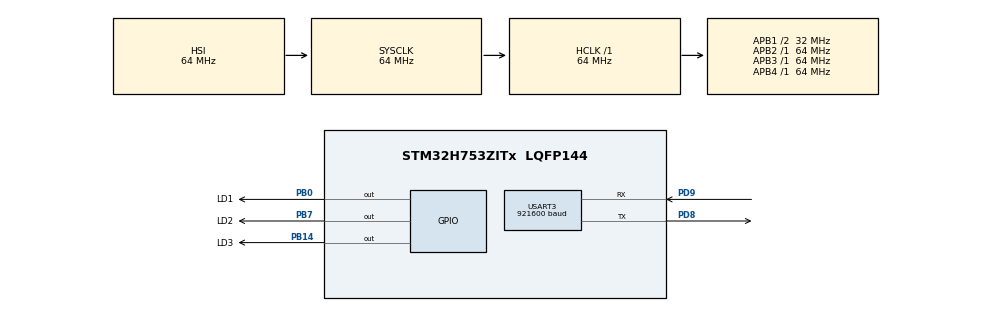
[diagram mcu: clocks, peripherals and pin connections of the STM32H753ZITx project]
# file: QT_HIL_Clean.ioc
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CORTEX_M7.default_mode_Activation=1
Mcu.Family=STM32H7
Mcu.Name=STM32H753ZITx
Mcu.Package=LQFP144
NVIC.PriorityGroup=NVIC_PRIORITYGROUP_4
PA13\ (JTMS/SWDIO).Mode=Serial_Wire
PA13\ (JTMS/SWDIO).Signal=DEBUG_JTMS-SWDIO
PA14\ (JTCK/SWCLK).Mode=Serial_Wire
PA14\ (JTCK/SWCLK).Signal=DEBUG_JTCK-SWCLK
PB0.GPIO_Label=LD1
PB0.Signal=GPIO_Output
PB14.GPIO_Label=LD3
PB14.Signal=GPIO_Output
PB7.GPIO_Label=LD2
PB7.Signal=GPIO_Output
PD8.Mode=Asynchronous
PD8.Signal=USART3_TX
PD9.Mode=Asynchronous
PD9.Signal=USART3_RX
PH0-OSC_IN\ (PH0).Mode=HSE-External-Clock-Source
PH0-OSC_IN\ (PH0).Signal=RCC_OSC_IN
ProjectManager.HeapSize=0x200
ProjectManager.StackSize=0x400
ProjectManager.TargetToolchain=STM32CubeIDE
RCC.ADCFreq_Value=129000000
RCC.APB1Freq_Value=32000000
RCC.APB2Freq_Value=64000000
RCC.APB3Freq_Value=64000000
RCC.APB4Freq_Value=64000000
RCC.CortexFreq_Value=64000000
RCC.D2PPRE1=RCC_APB1_DIV2
RCC.HCLKFreq_Value=64000000
RCC.HSE_VALUE=8000000
RCC.SYSCLKFreq_VALUE=64000000
RCC.USBFreq_Value=129000000
USART3.BaudRate=921600
USART3.VirtualMode-Asynchronous=VM_ASYNC
VP_MEMORYMAP_VS_MEMORYMAP.Mode=CurAppReg
board=custom

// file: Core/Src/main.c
/*
 * Copyright 2026 Adilkhan Salkimbayev
 *
 * Licensed under the Apache License, Version 2.0 (the "License");
 * you may not use this file except in compliance with the License.
 * You may obtain a copy of the License at
 *
 *     http://www.apache.org/licenses/LICENSE-2.0
 *
 * Unless required by applicable law or agreed to in writing, software
 * distributed under the License is distributed on an "AS IS" BASIS,
 * WITHOUT WARRANTIES OR CONDITIONS OF ANY KIND, either express or implied.
 * See the License for the specific language governing permissions and
 * limitations under the License.
 */

/* USER CODE BEGIN Header */
/**
  ******************************************************************************
  * @file           : main.c
  * @brief          : Main program body
  ******************************************************************************
  * @attention
  *
  * Copyright (c) 2026 STMicroelectronics.
  * All rights reserved.
  *
  * This software is licensed under terms that can be found in the LICENSE file
  * in the root directory of this software component.
  * If no LICENSE file comes with this software, it is provided AS-IS.
  *
  ******************************************************************************
  */
/* USER CODE END Header */
#include "main.h"
#include "ekf.h"
#include "config.h"
#include "model_calc.h"
#include "kan_solver.h"
#include "mpc_runner.h"

/* USER CODE BEGIN Includes */
#include "arm_math.h"
#include <math.h>
#include <stdio.h>
#include <string.h>
/* USER CODE END Includes */

UART_HandleTypeDef huart3;

/* USER CODE BEGIN PV */
EKF_Handle_t ekf;
// Buffers
uint8_t rx_buffer[17]; // Header (1) + 4 floats (16)
float h_inputs[4];     // From Python
float u_outputs[3];    // To Python (Voltage + Execution Time)

// Double buffers for calculation (The H7 likes doubles)
double x_est[4];
double u_applied[2];
double target[4] = {10.0, 10.0, 2.0, 2.0}; // Default Target
double A_flat[16];
double B_flat[8];
double d_flat[4];
uint32_t start_cycles, end_cycles;
double cpu_freq = 480000000.0; // Change to 400Mhz if clock config is 400
double active_gamma[2];
double active_k_pump[2];
/* USER CODE END PV */

void SystemClock_Config(void);
static void MPU_Config(void);
static void MX_GPIO_Init(void);
static void MX_USART3_UART_Init(void);
/* USER CODE BEGIN PFP */
void System_Setup_Config(void) {
    #ifdef USE_NON_MINIMUM_PHASE
        // Load P+ Values
        active_gamma[0] = GAMMA_PLUS[0];
        active_gamma[1] = GAMMA_PLUS[1];
        active_k_pump[0] = K_PUMP_PLUS[0];
        active_k_pump[1] = K_PUMP_PLUS[1];
    #else
        // Load P- Values
        active_gamma[0] = GAMMA_MINUS[0];
        active_gamma[1] = GAMMA_MINUS[1];
        active_k_pump[0] = K_PUMP_MINUS[0];
        active_k_pump[1] = K_PUMP_MINUS[1];
    #endif
}

void DWT_Init(void) {
    CoreDebug->DEMCR |= CoreDebug_DEMCR_TRCENA_Msk; // Enable Trace
    DWT->CYCCNT = 0;                                // Reset counter
    DWT->CTRL |= DWT_CTRL_CYCCNTENA_Msk;           // Enable cycle counter
}
/* USER CODE END PFP */

int main(void)
{

  /* MPU Configuration--------------------------------------------------------*/
  MPU_Config();

  /* MCU Configuration--------------------------------------------------------*/

  /* Reset of all peripherals, Initializes the Flash interface and the Systick. */
  HAL_Init();
  DWT_Init();

  /* USER CODE BEGIN Init */
  SCB_EnableDCache();
  SCB_EnableICache();
  /* USER CODE END Init */

  /* Configure the system clock */
  SystemClock_Config();

  /* Initialize all configured peripherals */
  MX_GPIO_Init();
  MX_USART3_UART_Init();
  /* USER CODE BEGIN 2 */

  // System configuration

  System_Setup_Config();

  // 1. Initialize EKF
  double initial_guess[4] = {0.0, 0.0, 0.0, 0.0};
  EKF_Init(&ekf, initial_guess);
  /* USER CODE END 2 */

  /* Infinite loop */
  /* USER CODE BEGIN WHILE */
    while (1)
    {
        // Wait for packet from Python
        if (HAL_UART_Receive(&huart3, rx_buffer, 1, 1000) == HAL_OK)
        {
            if (rx_buffer[0] == 0xA5) // Sync Byte
            {
                // Read 4 floats (measurements)
                HAL_UART_Receive(&huart3, &rx_buffer[1], 16, 100);
                memcpy(h_inputs, &rx_buffer[1], 16);

                // Cast float -> double for EKF
                double z_meas[4] = {h_inputs[0], h_inputs[1], h_inputs[2], h_inputs[3]};

                // --- EXECUTE CONTROL STACK ---

                // 1. Observer
                EKF_Update(&ekf, z_meas);   // Correction
                EKF_Predict(&ekf, u_applied); // Prediction (3ms step)

                // Start the clock
                start_cycles = DWT->CYCCNT;

                // 2. Controller (KAN)
                //KAN_Solve_Active(target, ekf.x_data, u_applied);

                // 3. Controller (Certainty Equivalence MPC)
                Get_Linear_Model_Affine(ekf.x_data, u_applied, DT_MPC_HORIZON, A_flat, B_flat, d_flat);
                Run_MPC_Step(ekf.x_data, target, u_applied, A_flat, B_flat, d_flat);

                // Stop the clock
                end_cycles = DWT->CYCCNT;

                // --- END CONTROL STACK ---

                // Calculate the ticks
                float exec_time = (float)((end_cycles - start_cycles) / (cpu_freq / 1000000.0));

                // Prepare response (Control Actions)
                u_outputs[0] = (float)u_applied[0];
                u_outputs[1] = (float)u_applied[1];
                u_outputs[2] = (float)exec_time;

                // Send back to Python
                HAL_UART_Transmit(&huart3, (uint8_t*)u_outputs, 12, 100);

                // Blink GREEN LED
                HAL_GPIO_TogglePin(GPIOB, GPIO_PIN_0);
            }
        }
    }
    /* USER CODE END WHILE */

}

void SystemClock_Config(void)
{
  RCC_OscInitTypeDef RCC_OscInitStruct = {0};
  RCC_ClkInitTypeDef RCC_ClkInitStruct = {0};

  /** Supply configuration update enable
  */
  HAL_PWREx_ConfigSupply(PWR_LDO_SUPPLY);

  /** Configure the main internal regulator output voltage
  */
  __HAL_PWR_VOLTAGESCALING_CONFIG(PWR_REGULATOR_VOLTAGE_SCALE3);

  while(!__HAL_PWR_GET_FLAG(PWR_FLAG_VOSRDY)) {}

  /** Initializes the RCC Oscillators according to the specified parameters
  * in the RCC_OscInitTypeDef structure.
  */
  RCC_OscInitStruct.OscillatorType = RCC_OSCILLATORTYPE_HSI;
  RCC_OscInitStruct.HSIState = RCC_HSI_DIV1;
  RCC_OscInitStruct.HSICalibrationValue = RCC_HSICALIBRATION_DEFAULT;
  RCC_OscInitStruct.PLL.PLLState = RCC_PLL_NONE;
  if (HAL_RCC_OscConfig(&RCC_OscInitStruct) != HAL_OK)
  {
    Error_Handler();
  }

  /** Initializes the CPU, AHB and APB buses clocks
  */
  RCC_ClkInitStruct.ClockType = RCC_CLOCKTYPE_HCLK|RCC_CLOCKTYPE_SYSCLK
                              |RCC_CLOCKTYPE_PCLK1|RCC_CLOCKTYPE_PCLK2
                              |RCC_CLOCKTYPE_D3PCLK1|RCC_CLOCKTYPE_D1PCLK1;
  RCC_ClkInitStruct.SYSCLKSource = RCC_SYSCLKSOURCE_HSI;
  RCC_ClkInitStruct.SYSCLKDivider = RCC_SYSCLK_DIV1;
  RCC_ClkInitStruct.AHBCLKDivider = RCC_HCLK_DIV1;
  RCC_ClkInitStruct.APB3CLKDivider = RCC_APB3_DIV1;
  RCC_ClkInitStruct.APB1CLKDivider = RCC_APB1_DIV2;
  RCC_ClkInitStruct.APB2CLKDivider = RCC_APB2_DIV1;
  RCC_ClkInitStruct.APB4CLKDivider = RCC_APB4_DIV1;

  if (HAL_RCC_ClockConfig(&RCC_ClkInitStruct, FLASH_LATENCY_1) != HAL_OK)
  {
    Error_Handler();
  }
}

static void MX_USART3_UART_Init(void)
{

  huart3.Instance = USART3;
  huart3.Init.BaudRate = 921600;
  huart3.Init.WordLength = UART_WORDLENGTH_8B;
  huart3.Init.StopBits = UART_STOPBITS_1;
  huart3.Init.Parity = UART_PARITY_NONE;
  huart3.Init.Mode = UART_MODE_TX_RX;
  huart3.Init.HwFlowCtl = UART_HWCONTROL_NONE;
  huart3.Init.OverSampling = UART_OVERSAMPLING_16;
  huart3.Init.OneBitSampling = UART_ONE_BIT_SAMPLE_DISABLE;
  huart3.Init.ClockPrescaler = UART_PRESCALER_DIV1;
  huart3.AdvancedInit.AdvFeatureInit = UART_ADVFEATURE_NO_INIT;
  if (HAL_UART_Init(&huart3) != HAL_OK)
  {
    Error_Handler();
  }
  if (HAL_UARTEx_SetTxFifoThreshold(&huart3, UART_TXFIFO_THRESHOLD_1_8) != HAL_OK)
  {
    Error_Handler();
  }
  if (HAL_UARTEx_SetRxFifoThreshold(&huart3, UART_RXFIFO_THRESHOLD_1_8) != HAL_OK)
  {
    Error_Handler();
  }
  if (HAL_UARTEx_DisableFifoMode(&huart3) != HAL_OK)
  {
    Error_Handler();
  }

}

static void MX_GPIO_Init(void)
{
  GPIO_InitTypeDef GPIO_InitStruct = {0};

  /* GPIO Ports Clock Enable */
  __HAL_RCC_GPIOH_CLK_ENABLE();
  __HAL_RCC_GPIOB_CLK_ENABLE();
  __HAL_RCC_GPIOD_CLK_ENABLE();
  __HAL_RCC_GPIOA_CLK_ENABLE();

  /*Configure GPIO pin Output Level */
  HAL_GPIO_WritePin(GPIOB, LD1_Pin|LD3_Pin|LD2_Pin, GPIO_PIN_RESET);

  /*Configure GPIO pins : LD1_Pin LD3_Pin LD2_Pin */
  GPIO_InitStruct.Pin = GPIO_PIN_0|GPIO_PIN_7|GPIO_PIN_14;
  GPIO_InitStruct.Mode = GPIO_MODE_OUTPUT_PP;
  GPIO_InitStruct.Pull = GPIO_NOPULL;
  GPIO_InitStruct.Speed = GPIO_SPEED_FREQ_LOW;
  HAL_GPIO_Init(GPIOB, &GPIO_InitStruct);

}

 /* MPU Configuration */

void MPU_Config(void)
{
  MPU_Region_InitTypeDef MPU_InitStruct = {0};

  /* Disables the MPU */
  HAL_MPU_Disable();

  /** Initializes and configures the Region and the memory to be protected
  */
  MPU_InitStruct.Enable = MPU_REGION_ENABLE;
  MPU_InitStruct.Number = MPU_REGION_NUMBER0;
  MPU_InitStruct.BaseAddress = 0x0;
  MPU_InitStruct.Size = MPU_REGION_SIZE_4GB;
  MPU_InitStruct.SubRegionDisable = 0x87;
  MPU_InitStruct.TypeExtField = MPU_TEX_LEVEL0;
  MPU_InitStruct.AccessPermission = MPU_REGION_NO_ACCESS;
  MPU_InitStruct.DisableExec = MPU_INSTRUCTION_ACCESS_DISABLE;
  MPU_InitStruct.IsShareable = MPU_ACCESS_SHAREABLE;
  MPU_InitStruct.IsCacheable = MPU_ACCESS_NOT_CACHEABLE;
  MPU_InitStruct.IsBufferable = MPU_ACCESS_NOT_BUFFERABLE;

  HAL_MPU_ConfigRegion(&MPU_InitStruct);
  /* Enables the MPU */
  HAL_MPU_Enable(MPU_PRIVILEGED_DEFAULT);

}

void Error_Handler(void)
{
  __disable_irq();
  while (1)
  {
  }
}
